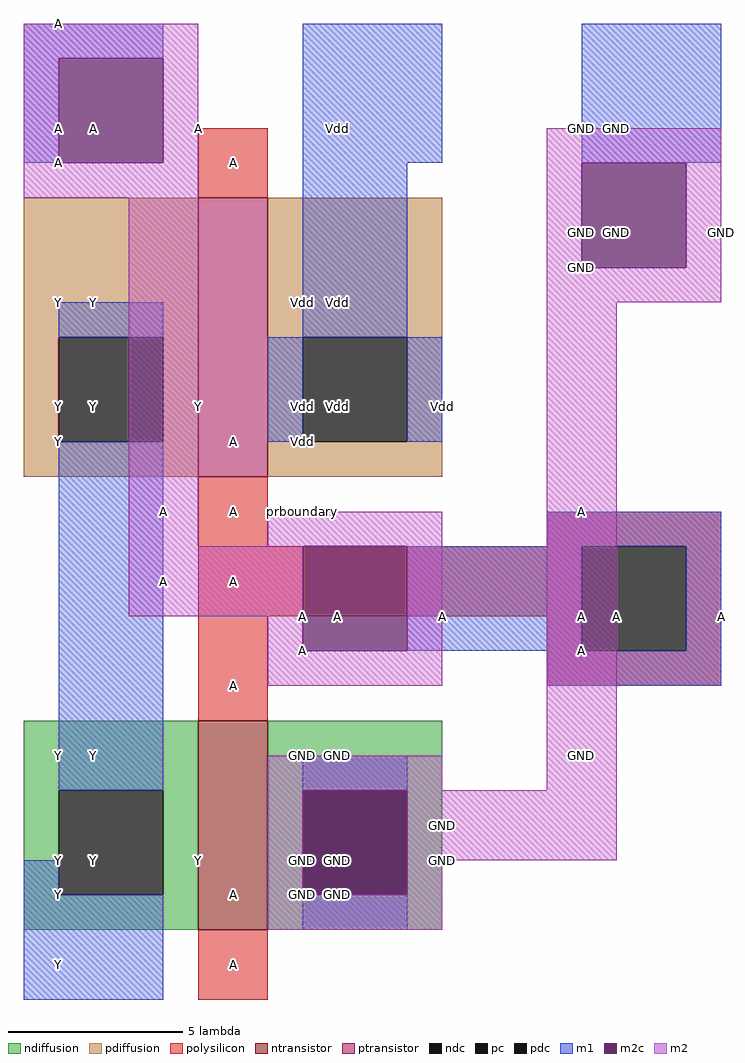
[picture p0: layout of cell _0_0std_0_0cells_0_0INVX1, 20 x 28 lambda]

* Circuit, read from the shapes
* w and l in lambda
.subckt _0_0std_0_0cells_0_0INVX1 A Y
M1 GND A Y VSUBS nfet w=6 l=2
M2 Vdd A Y NWELL pfet w=8 l=2
.ends

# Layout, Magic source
magic
tech sky130l
<< ndiffusion >>
rect 8 10 13 12
rect 8 7 9 10
rect 12 7 13 10
rect 8 6 13 7
rect 15 10 20 12
rect 15 7 16 10
rect 19 7 20 10
rect 15 6 20 7
<< ndc >>
rect 9 7 12 10
rect 16 7 19 10
<< ntransistor >>
rect 13 6 15 12
<< pdiffusion >>
rect 8 23 13 27
rect 8 20 9 23
rect 12 20 13 23
rect 8 19 13 20
rect 15 23 20 27
rect 15 20 16 23
rect 19 20 20 23
rect 15 19 20 20
<< pdc >>
rect 9 20 12 23
rect 16 20 19 23
<< ptransistor >>
rect 13 19 15 27
<< polysilicon >>
rect 13 27 15 29
rect 13 17 15 19
rect 23 17 28 18
rect 13 15 24 17
rect 13 12 15 15
rect 23 14 24 15
rect 27 14 28 17
rect 23 13 28 14
rect 13 4 15 6
<< pc >>
rect 24 14 27 17
<< m1 >>
rect 8 31 12 32
rect 8 28 9 31
rect 16 28 20 32
rect 24 28 28 32
rect 9 23 12 24
rect 16 23 19 28
rect 15 20 16 23
rect 19 20 20 23
rect 9 10 12 20
rect 23 17 28 18
rect 19 14 24 17
rect 27 14 28 17
rect 23 13 28 14
rect 8 7 9 8
rect 8 4 12 7
rect 16 10 19 11
rect 16 6 19 7
<< m2c >>
rect 9 28 12 31
rect 24 25 27 28
rect 16 14 19 17
rect 16 7 19 10
<< m2 >>
rect 8 31 13 32
rect 8 28 9 31
rect 12 28 13 31
rect 8 27 13 28
rect 11 17 13 27
rect 23 28 28 29
rect 23 25 24 28
rect 27 25 28 28
rect 23 24 28 25
rect 15 17 20 18
rect 11 15 16 17
rect 15 14 16 15
rect 19 14 20 17
rect 15 13 20 14
rect 15 10 20 11
rect 23 10 25 24
rect 15 7 16 10
rect 19 8 25 10
rect 19 7 20 8
rect 15 6 20 7
<< labels >>
rlabel space 0 0 32 36 6 prboundary
rlabel polysilicon 24 15 24 15 3 A
rlabel ndiffusion 13 8 13 8 3 Y
rlabel pdiffusion 16 20 16 20 3 Vdd
rlabel pdiffusion 16 24 16 24 3 Vdd
rlabel pdiffusion 13 21 13 21 3 Y
rlabel polysilicon 14 5 14 5 3 A
rlabel ntransistor 14 7 14 7 3 A
rlabel polysilicon 14 13 14 13 3 A
rlabel polysilicon 14 16 14 16 3 A
rlabel polysilicon 14 18 14 18 3 A
rlabel ptransistor 14 20 14 20 3 A
rlabel polysilicon 14 28 14 28 3 A
rlabel ndiffusion 9 7 9 7 3 Y
rlabel ndiffusion 9 11 9 11 3 Y
rlabel pdiffusion 9 20 9 20 3 Y
rlabel pdiffusion 9 21 9 21 3 Y
rlabel pdiffusion 9 24 9 24 3 Y
rlabel m1 28 15 28 15 3 A
port 1 e
rlabel m1 24 14 24 14 3 A
port 1 e
rlabel pc 25 15 25 15 3 A
port 1 e
rlabel m1 24 18 24 18 3 A
port 1 e
rlabel m1 25 29 25 29 3 GND
rlabel m1 20 21 20 21 3 Vdd
rlabel m1 17 11 17 11 3 GND
rlabel pdc 17 21 17 21 3 Vdd
rlabel m1 17 24 17 24 3 Vdd
rlabel m1 17 29 17 29 3 Vdd
rlabel m1 16 21 16 21 3 Vdd
rlabel m1 17 7 17 7 3 GND
rlabel ndc 10 8 10 8 3 Y
port 2 e
rlabel m1 10 11 10 11 3 Y
port 2 e
rlabel pdc 10 21 10 21 3 Y
port 2 e
rlabel m1 10 24 10 24 3 Y
port 2 e
rlabel m1 9 5 9 5 3 Y
port 2 e
rlabel m1 9 8 9 8 3 Y
port 2 e
rlabel m2 28 26 28 26 3 GND
rlabel m2c 25 26 25 26 3 GND
rlabel m2 24 25 24 25 3 GND
rlabel m2 24 26 24 26 3 GND
rlabel m2 20 8 20 8 3 GND
rlabel m2 20 9 20 9 3 GND
rlabel m2 24 11 24 11 3 GND
rlabel m2 20 15 20 15 3 A
port 1 e
rlabel m2c 17 8 17 8 3 GND
rlabel m2c 17 15 17 15 3 A
port 1 e
rlabel m2 16 18 16 18 3 A
port 1 e
rlabel m2 24 29 24 29 3 GND
rlabel m2 16 7 16 7 3 GND
rlabel m2 16 8 16 8 3 GND
rlabel m2 16 11 16 11 3 GND
rlabel m2 16 14 16 14 3 A
port 1 e
rlabel m2 16 15 16 15 3 A
port 1 e
rlabel m2 12 16 12 16 3 A
port 1 e
rlabel m2 12 18 12 18 3 A
port 1 e
rlabel m2 13 29 13 29 3 A
port 1 e
rlabel m2c 10 29 10 29 3 A
port 1 e
rlabel m2 9 28 9 28 3 A
port 1 e
rlabel m2 9 29 9 29 3 A
port 1 e
rlabel m2 9 32 9 32 3 A
port 1 e
<< end >>
